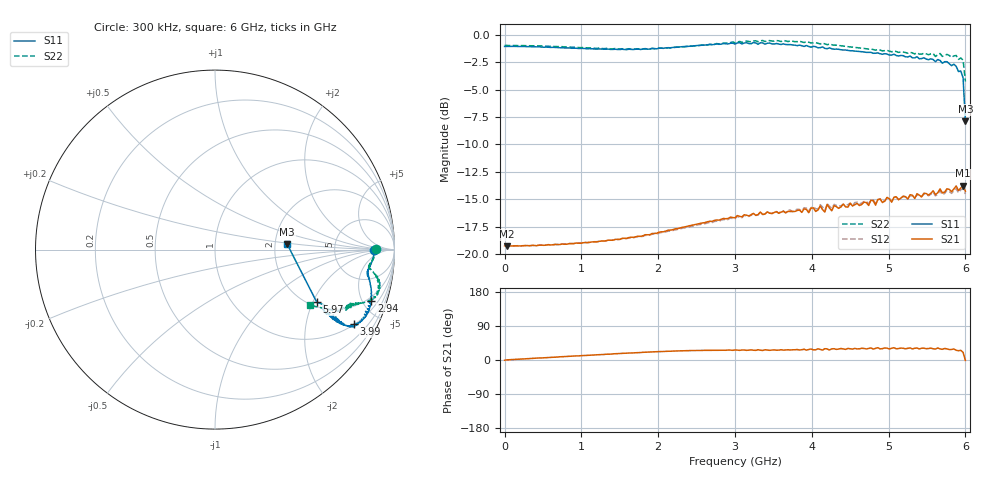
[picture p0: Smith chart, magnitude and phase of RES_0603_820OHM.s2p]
# Hz S RI R 50
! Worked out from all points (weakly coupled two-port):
!   201 points, 300 kHz to 6 GHz, reference 50 ohm
!   highest |S21| = -13.77 dB at 5.97 GHz (marker M1); lowest = -19.3 dB at 30.3 MHz (marker M2)
!   lowest |S11| = -7.9 dB at 6 GHz (marker M3), VSWR 2.35, Z = 117 + j8.3 ohm
!   |S11| at or under -10 dB: nowhere
!   |S22| runs from -4.2 to -0.5 dB; largest |S21 - S12| = 0.008
!   S11 on the Smith chart (normalised r, x): 300 kHz: 17, -0; 2.94 GHz: 1.65, -5.84; 3.99 GHz: 1.01, -3.72; 5.97 GHz: 2.17, -2.14; 6 GHz: 2.34, +0.17
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300000  0.8861 -0.00158  0.1091 -0.00111  0.1093 -0.00172  0.8955 0.00333
3.02985e7  0.8869 -0.00372  0.1086 0.000691  0.1088 0.000436  0.8954 -0.00128
1.020249e9  0.8631 -0.0937  0.1102 0.0231  0.1104 0.0228  0.8737 -0.0666
2.0102e9  0.8565 -0.151  0.1164 0.0477  0.1153 0.0469  0.8637 -0.1036
2.940153e9  0.8712 -0.2838  0.1324 0.0649  0.1304 0.0657  0.9093 -0.1581
3.00015e9  0.8594 -0.2947  0.1311 0.0652  0.1288 0.0665  0.905 -0.1716
3.360132e9  0.8421 -0.3694  0.1374 0.0647  0.1357 0.0669  0.9185 -0.2164
3.9901e9  0.775 -0.4158  0.1417 0.0786  0.1419 0.0797  0.8781 -0.2719
4.020099e9  0.7812 -0.42  0.1453 0.0729  0.1456 0.0766  0.8804 -0.2709
4.170092e9  0.7548 -0.4291  0.1349 0.0774  0.1379 0.077  0.8637 -0.2891
4.20009e9  0.7566 -0.4205  0.1472 0.0823  0.1473 0.0839  0.857 -0.283
4.260087e9  0.7501 -0.4303  0.1372 0.0774  0.1411 0.0784  0.8545 -0.2895
4.290086e9  0.7489 -0.4245  0.1445 0.0826  0.1471 0.0823  0.8509 -0.2876
5.01005e9  0.6967 -0.4106  0.1562 0.0868  0.1578 0.0858  0.7855 -0.3067
5.550022e9  0.6765 -0.3843  0.1615 0.0986  0.1623 0.094  0.7604 -0.306
5.61002e9  0.6548 -0.3766  0.1632 0.0905  0.1632 0.0858  0.7334 -0.3131
5.640018e9  0.6742 -0.376  0.1618 0.1003  0.1618 0.0944  0.7546 -0.299
5.880006e9  0.622 -0.3599  0.1844 0.0886  0.181 0.082  0.7316 -0.3373
5.910004e9  0.5971 -0.3264  0.1773 0.0808  0.1743 0.0763  0.7001 -0.329
5.940003e9  0.6105 -0.3099  0.1807 0.0862  0.1793 0.0805  0.7147 -0.3234
5.970002e9  0.5666 -0.2923  0.1924 0.0707  0.1877 0.0642  0.6869 -0.3433
6e9  0.4025 0.0297  0.1933 -0.00396  0.188 -0.00655  0.5288 -0.3111
